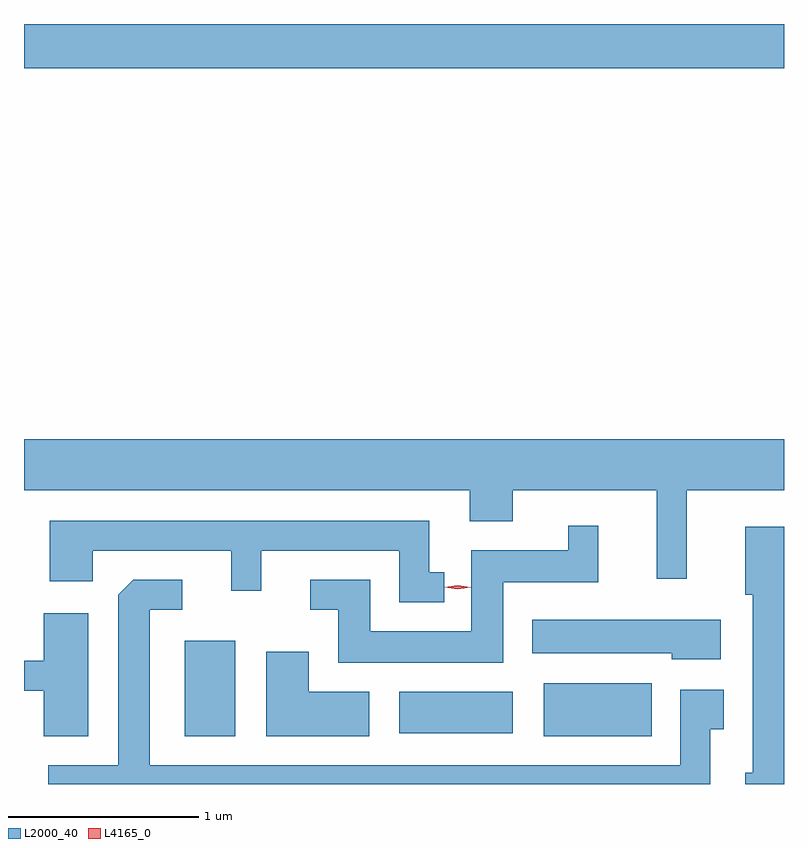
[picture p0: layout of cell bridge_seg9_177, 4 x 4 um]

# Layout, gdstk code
import gdstk
lib = gdstk.Library(unit=1e-6, precision=1e-09)
def R(c, l, rs):  # rectangles x0, y0, x1, y1
    for r in rs: c.add(gdstk.rectangle(r[:2], r[2:], *l))
def P(c, l, *ps):  # polygons
    for p in ps: c.add(gdstk.Polygon(p, *l))
L2000_40 = (2000, 40)
L4165_0 = (4165, 0)

bridge_seg9_177 = lib.new_cell('bridge_seg9_177')
R(bridge_seg9_177, L2000_40, [(1101.441,2077.101,1101.709,2077.604), (1103.331,2077.101,1103.899,2077.379), (1102.571,2077.116,1103.169,2077.334), (1100.596,2080.616,1104.596,2080.849)])
P(bridge_seg9_177, L2000_40, [(1104.084,2078.396),(1104.596,2078.396),(1104.596,2078.664),(1100.596,2078.664),(1100.596,2078.396),(1102.941,2078.396),(1102.941,2078.231),(1103.169,2078.231),(1103.169,2078.396),(1103.926,2078.396),(1103.926,2077.928),(1104.084,2077.928)],
  [(1102.808,2077.964),(1102.729,2077.964),(1102.729,2078.234),(1100.731,2078.234),(1100.731,2077.916),(1100.959,2077.916),(1100.959,2078.076),(1101.686,2078.076),(1101.686,2077.867),(1101.844,2077.867),(1101.844,2078.076),(1102.571,2078.076),(1102.571,2077.806),(1102.808,2077.806)],
  [(1103.119,2077.911),(1103.619,2077.911),(1103.619,2078.208),(1103.461,2078.208),(1103.461,2078.079),(1102.951,2078.079),(1102.951,2077.654),(1102.419,2077.654),(1102.419,2077.924),(1102.103,2077.924),(1102.103,2077.766),(1102.251,2077.766),(1102.251,2077.486),(1103.119,2077.486)],
  [(1104.596,2078.204),(1104.391,2078.204),(1104.391,2077.846),(1104.431,2077.846),(1104.431,2076.909),(1104.391,2076.909),(1104.391,2076.849),(1104.596,2076.849)],
  [(1104.209,2077.136),(1104.279,2077.136),(1104.279,2077.344),(1104.051,2077.344),(1104.051,2076.949),(1101.259,2076.949),(1101.259,2077.766),(1101.428,2077.766),(1101.428,2077.924),(1101.172,2077.924),(1101.091,2077.844),(1101.091,2076.949),(1100.723,2076.949),(1100.723,2076.849),(1104.209,2076.849)],
  [(1100.934,2077.749),(1100.701,2077.749),(1100.701,2077.499),(1100.596,2077.499),(1100.596,2077.341),(1100.701,2077.341),(1100.701,2077.101),(1100.934,2077.101)],
  [(1104.264,2077.714),(1103.271,2077.714),(1103.271,2077.536),(1104.006,2077.536),(1104.006,2077.506),(1104.264,2077.506)],
  [(1102.414,2077.334),(1102.094,2077.334),(1102.094,2077.544),(1101.871,2077.544),(1101.871,2077.101),(1102.414,2077.101)])
P(bridge_seg9_177, L4165_0, [(1102.878,2077.875),(1102.809,2077.884),(1102.809,2077.885),(1102.809,2077.885),(1102.878,2077.895),(1102.948,2077.885),(1102.948,2077.885),(1102.948,2077.884)])

lib.write_gds('bridge_seg9_177.gds')
